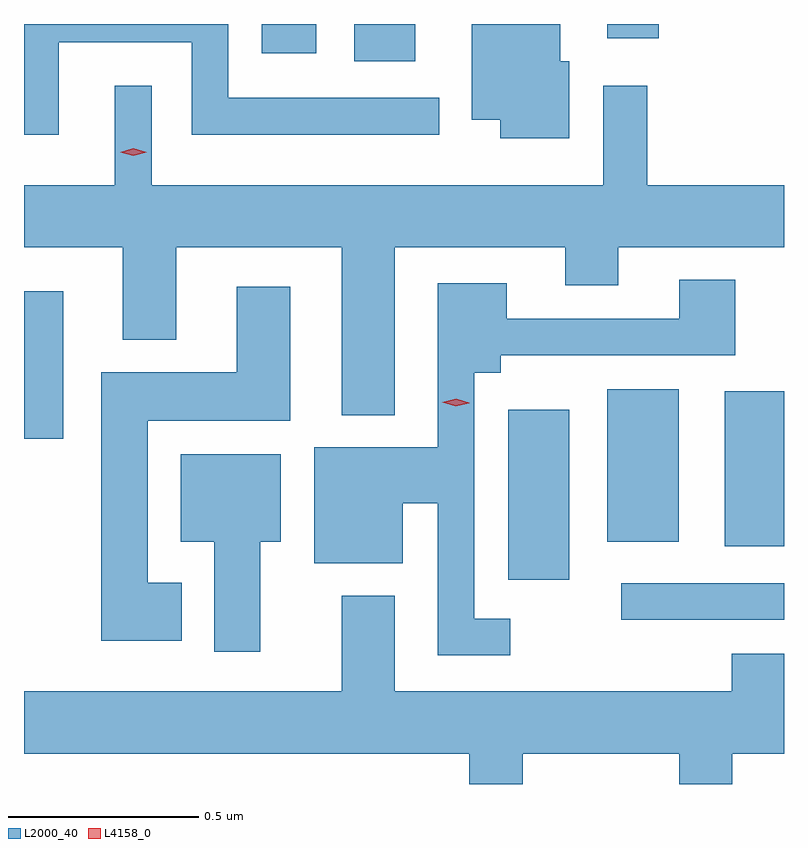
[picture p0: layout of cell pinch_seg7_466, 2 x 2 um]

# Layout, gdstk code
import gdstk
lib = gdstk.Library(unit=1e-6, precision=1e-09)
def R(c, l, rs):  # rectangles x0, y0, x1, y1
    for r in rs: c.add(gdstk.rectangle(r[:2], r[2:], *l))
def P(c, l, *ps):  # polygons
    for p in ps: c.add(gdstk.Polygon(p, *l))
L2000_40 = (2000, 40)
L4158_0 = (4158, 0)

pinch_seg7_466 = lib.new_cell('pinch_seg7_466')
R(pinch_seg7_466, L2000_40, [(265.299,1056.912,265.727,1057.008), (265.001,1057.017,265.162,1057.465), (265.571,1057.106,265.727,1057.513), (265.262,1057.118,265.45,1057.519), (263.727,1057.388,263.83,1057.777), (264.596,1058.382,264.757,1058.48), (264.353,1058.403,264.496,1058.48), (265.262,1058.442,265.397,1058.48)])
P(pinch_seg7_466, L2000_40, [(263.818,1058.432),(264.168,1058.432),(264.168,1058.189),(264.82,1058.189),(264.82,1058.286),(264.264,1058.286),(264.264,1058.48),(263.727,1058.48),(263.727,1058.189),(263.818,1058.189)],
  [(265.162,1058.382),(265.138,1058.382),(265.138,1058.48),(264.905,1058.48),(264.905,1058.228),(264.98,1058.228),(264.98,1058.18),(265.162,1058.18)],
  [(264.703,1057.892),(265.151,1057.892),(265.151,1057.793),(265.291,1057.793),(265.291,1057.892),(265.727,1057.892),(265.727,1058.056),(265.367,1058.056),(265.367,1058.317),(265.251,1058.317),(265.251,1058.056),(264.063,1058.056),(264.063,1058.317),(263.966,1058.317),(263.966,1058.056),(263.727,1058.056),(263.727,1057.892),(263.987,1057.892),(263.987,1057.649),(264.127,1057.649),(264.127,1057.892),(264.563,1057.892),(264.563,1057.451),(264.703,1057.451)],
  [(265.006,1056.915),(264.912,1056.915),(264.912,1057.562),(264.982,1057.562),(264.982,1057.608),(265.599,1057.608),(265.599,1057.807),(265.451,1057.807),(265.451,1057.704),(264.997,1057.704),(264.997,1057.798),(264.816,1057.798),(264.816,1057.366),(264.491,1057.366),(264.491,1057.061),(264.724,1057.061),(264.724,1057.219),(264.816,1057.219),(264.816,1056.819),(265.006,1056.819)],
  [(264.142,1057.009),(264.052,1057.009),(264.052,1057.436),(264.427,1057.436),(264.427,1057.789),(264.287,1057.789),(264.287,1057.564),(263.93,1057.564),(263.93,1056.857),(264.142,1056.857)],
  [(264.349,1057.118),(264.403,1057.118),(264.403,1057.348),(264.14,1057.348),(264.14,1057.118),(264.227,1057.118),(264.227,1056.828),(264.349,1056.828)],
  [(265.039,1056.56),(265.451,1056.56),(265.451,1056.48),(265.591,1056.48),(265.591,1056.56),(265.727,1056.56),(265.727,1056.823),(265.589,1056.823),(265.589,1056.724),(264.703,1056.724),(264.703,1056.976),(264.563,1056.976),(264.563,1056.724),(263.727,1056.724),(263.727,1056.56),(264.899,1056.56),(264.899,1056.48),(265.039,1056.48)])
P(pinch_seg7_466, L4158_0, [(264.863,1057.474),(264.828,1057.485),(264.828,1057.485),(264.828,1057.485),(264.864,1057.494),(264.899,1057.483),(264.899,1057.482),(264.899,1057.482)],
  [(264.015,1058.133),(263.98,1058.143),(263.98,1058.143),(263.98,1058.143),(264.015,1058.153),(264.05,1058.143),(264.05,1058.143),(264.05,1058.143)])

lib.write_gds('pinch_seg7_466.gds')
